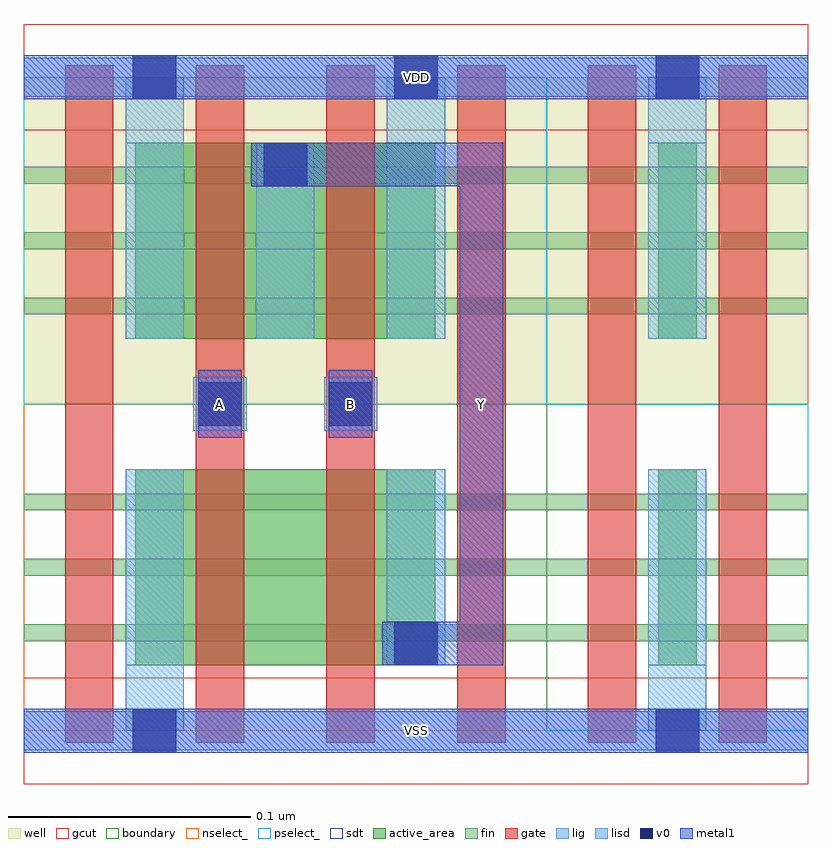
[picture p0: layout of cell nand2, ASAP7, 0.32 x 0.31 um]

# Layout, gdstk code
import gdstk
lib = gdstk.Library(unit=1e-6, precision=2.5e-10)
def R(c, l, rs):  # rectangles x0, y0, x1, y1
    for r in rs: c.add(gdstk.rectangle(r[:2], r[2:], *l))
def A(c, l, x, y, w, h, nx, ny, dx, dy):  # array of equal rectangles
    R(c, l, [(x+i*dx, y+j*dy, x+i*dx+w, y+j*dy+h) for i in range(nx) for j in range(ny)])
well = (1, 0)
fin = (2, 0)
gate = (7, 0)
gcut = (10, 0)
active_area = (11, 0)
nselect_ = (12, 0)
pselect_ = (13, 0)
lig = (16, 0)
lisd = (17, 0)
v0 = (18, 0)
metal1 = (19, 0)
sdt = (88, 0)
boundary = (100, 0)

nand2 = lib.new_cell('nand2')
R(nand2, well, [(0,0.135,0.216,0.27), (0,0.135,0.324,0.27), (0.216,0.135,0.324,0.27)])
A(nand2, fin, 0, 0.037, 0.216, 0.007, 1, 3, 0, 0.027)
A(nand2, fin, 0.216, 0.037, 0.108, 0.007, 1, 3, 0, 0.027)
A(nand2, fin, 0, 0.172, 0.216, 0.007, 1, 3, 0, 0.027)
A(nand2, fin, 0.216, 0.172, 0.108, 0.007, 1, 3, 0, 0.027)
A(nand2, gate, 0.017, -0.005, 0.02, 0.14, 6, 2, 0.054, 0.14)
R(nand2, gcut, [(0,-0.022,0.324,0.022), (0,0.248,0.324,0.292)])
R(nand2, active_area, [(0.046,0.027,0.17,0.108), (0.262,0.027,0.278,0.108), (0.046,0.162,0.17,0.243), (0.262,0.162,0.278,0.243)])
R(nand2, nselect_, [(0,0,0.216,0.135), (0.216,0.135,0.324,0.27)])
R(nand2, pselect_, [(0.216,0,0.324,0.135), (0,0.135,0.216,0.27)])
R(nand2, lig, [(0,-0.008,0.324,0.008), (0.07,0.124,0.092,0.146), (0.124,0.124,0.146,0.146), (0,0.262,0.324,0.278)])
A(nand2, lisd, 0.042, 0.027, 0.024, 0.081, 3, 1, 0.108, 0)
A(nand2, lisd, 0.042, 0.162, 0.024, 0.081, 3, 1, 0.054, 0)
A(nand2, lisd, 0.042, 0.162, 0.024, 0.108, 3, 1, 0.108, 0)
R(nand2, lisd, [(0.042,0,0.066,0.108), (0.258,0,0.282,0.108), (0.258,0.162,0.282,0.243)])
A(nand2, v0, 0.045, 0.261, 0.018, 0.018, 3, 1, 0.108, 0)
R(nand2, v0, [(0.045,-0.009,0.063,0.009), (0.261,-0.009,0.279,0.009), (0.153,0.027,0.171,0.045), (0.072,0.126,0.09,0.144), (0.126,0.126,0.144,0.144), (0.099,0.225,0.117,0.243)])
A(nand2, metal1, 0.04, 0.261, 0.028, 0.018, 3, 1, 0.108, 0)
R(nand2, metal1, [(0,-0.009,0.324,0.009), (0.04,-0.009,0.068,0.009), (0.256,-0.009,0.284,0.009), (0.148,0.027,0.176,0.045), (0.148,0.027,0.198,0.045), (0.18,0.027,0.198,0.243), (0.072,0.121,0.09,0.149), (0.126,0.121,0.144,0.149), (0.094,0.225,0.122,0.243), (0.094,0.225,0.198,0.243), (0,0.261,0.324,0.279)])
A(nand2, sdt, 0.042, 0.027, 0.024, 0.081, 3, 1, 0.108, 0)
A(nand2, sdt, 0.042, 0.162, 0.024, 0.081, 3, 1, 0.054, 0)
R(nand2, sdt, [(0.258,0.162,0.282,0.243)])
R(nand2, boundary, [(0,0,0.324,0.27)])
nand2.add(gdstk.Label('A', (0.081,0.135), layer=19, texttype=251))
nand2.add(gdstk.Label('B', (0.135,0.135), layer=19, texttype=251))
nand2.add(gdstk.Label('Y', (0.189,0.135), layer=19, texttype=251))
nand2.add(gdstk.Label('VDD', (0.162,0.27), layer=19, texttype=251))
nand2.add(gdstk.Label('VSS', (0.162,0), layer=19, texttype=251))

lib.write_gds('nand2.gds')
